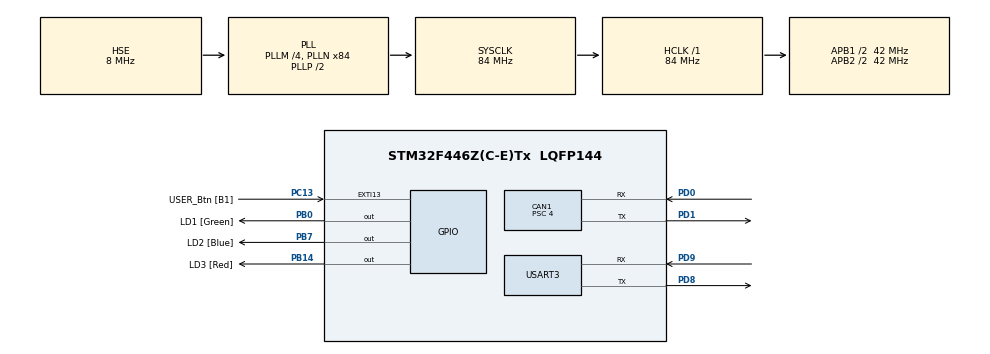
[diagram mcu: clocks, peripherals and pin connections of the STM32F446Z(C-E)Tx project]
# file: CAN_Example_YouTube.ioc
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CAN1.BS1=CAN_BS1_13TQ
CAN1.BS2=CAN_BS2_2TQ
CAN1.CalculateBaudRate=656250
CAN1.CalculateTimeBit=1523
CAN1.CalculateTimeQuantum=95.23809523809524
CAN1.Prescaler=4
Mcu.Family=STM32F4
Mcu.Name=STM32F446Z(C-E)Tx
Mcu.Package=LQFP144
NVIC.CAN1_RX0_IRQn=true\:0\:0\:false\:false\:true\:true\:true\:true
NVIC.CAN1_RX1_IRQn=true\:0\:0\:false\:false\:true\:true\:true\:true
NVIC.CAN1_TX_IRQn=true\:0\:0\:false\:false\:true\:true\:true\:true
NVIC.EXTI15_10_IRQn=true\:0\:0\:false\:false\:true\:true\:true\:true
NVIC.PriorityGroup=NVIC_PRIORITYGROUP_4
PB0.GPIO_Label=LD1 [Green]
PB0.Signal=GPIO_Output
PB14.GPIO_Label=LD3 [Red]
PB14.Signal=GPIO_Output
PB7.GPIO_Label=LD2 [Blue]
PB7.Signal=GPIO_Output
PC13.GPIO_Label=USER_Btn [B1]
PC13.Signal=GPXTI13
PC14-OSC32_IN.Mode=LSE-External-Oscillator
PC14-OSC32_IN.Signal=RCC_OSC32_IN
PC15-OSC32_OUT.Mode=LSE-External-Oscillator
PC15-OSC32_OUT.Signal=RCC_OSC32_OUT
PD0.GPIO_PuPd=GPIO_PULLUP
PD0.Mode=CAN_Activate
PD0.Signal=CAN1_RX
PD1.GPIO_PuPd=GPIO_PULLUP
PD1.Mode=CAN_Activate
PD1.Signal=CAN1_TX
PD8.Mode=Asynchronous
PD8.Signal=USART3_TX
PD9.Mode=Asynchronous
PD9.Signal=USART3_RX
PH0-OSC_IN.GPIO_Label=MCO [STM32F103CBT6_PA8]
PH0-OSC_IN.Mode=HSE-External-Clock-Source
PH0-OSC_IN.Signal=RCC_OSC_IN
PH1-OSC_OUT.Mode=HSE-External-Clock-Source
PH1-OSC_OUT.Signal=RCC_OSC_OUT
ProjectManager.HeapSize=0x200
ProjectManager.StackSize=0x400
ProjectManager.TargetToolchain=STM32CubeIDE
RCC.48MHZClocksFreq_Value=24000000
RCC.AHBFreq_Value=84000000
RCC.APB1CLKDivider=RCC_HCLK_DIV2
RCC.APB1Freq_Value=42000000
RCC.APB1TimFreq_Value=84000000
RCC.APB2CLKDivider=RCC_HCLK_DIV2
RCC.APB2Freq_Value=42000000
RCC.APB2TimFreq_Value=84000000
RCC.CortexFreq_Value=84000000
RCC.HCLKFreq_Value=84000000
RCC.HSE_VALUE=8000000
RCC.HSI_VALUE=16000000
RCC.PLLM=4
RCC.PLLMUL=RCC_PLL_MUL9
RCC.PLLN=84
RCC.PLLQ=7
RCC.PLLSourceVirtual=RCC_PLLSOURCE_HSE
RCC.PRESCALERUSB=RCC_USBCLKSOURCE_PLL_DIV1_5
RCC.SYSCLKFreq_VALUE=84000000
RCC.SYSCLKSource=RCC_SYSCLKSOURCE_PLLCLK
RCC.SYSCLKSourceVirtual=RCC_SYSCLKSOURCE_PLLCLK
RCC.USBFreq_Value=24000000
RCC.VCOOutputFreq_Value=168000000
USART3.VirtualMode=VM_ASYNC
board=NUCLEO-F446ZE

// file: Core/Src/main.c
/* USER CODE BEGIN Header */
/**
  ******************************************************************************
  * @file           : main.c
  * @brief          : Main program body
  ******************************************************************************
  * @attention
  *
  * <h2><center>&copy; Copyright (c) 2021 STMicroelectronics.
  * All rights reserved.</center></h2>
  *
  * This software component is licensed by ST under BSD 3-Clause license,
  * the "License"; You may not use this file except in compliance with the
  * License. You may obtain a copy of the License at:
  *                        opensource.org/licenses/BSD-3-Clause
  *
  ******************************************************************************
  */
/* USER CODE END Header */
#include "main.h"

CAN_HandleTypeDef hcan1;

UART_HandleTypeDef huart3;

/* USER CODE BEGIN PV */
// CAN Related
CAN_TxHeaderTypeDef   TxHeader;
CAN_RxHeaderTypeDef   RxHeader;
uint8_t               TxData[8];
uint8_t               RxData[8];
uint32_t              TxMailbox;
// LED Status...
uint8_t				  LDSTAT;
uint8_t			      CNT;
uint8_t			      TX;
/* USER CODE END PV */

void SystemClock_Config(void);
static void MX_GPIO_Init(void);
static void MX_USART3_UART_Init(void);
static void MX_CAN1_Init(void);

int main(void)
{
  /* USER CODE BEGIN 1 */
	TX = 0; // Stel hier in of het zender (1) of ontvanger (0) is.

	LDSTAT = 0;
	CNT = 0;
  /* USER CODE END 1 */

  /* MCU Configuration--------------------------------------------------------*/

  /* Reset of all peripherals, Initializes the Flash interface and the Systick. */
  HAL_Init();

  /* Configure the system clock */
  SystemClock_Config();

  /* Initialize all configured peripherals */
  MX_GPIO_Init();
  MX_USART3_UART_Init();
  MX_CAN1_Init();
  /* USER CODE BEGIN 2 */
  HAL_CAN_Start(&hcan1);
  /* USER CODE END 2 */

  /* Infinite loop */
	while (1) {

    /* USER CODE BEGIN 3 */
		if (TX) {
					CNT = CNT + 1;
					TxData[0] = CNT;
					TxData[1] = LDSTAT;

					if (LDSTAT == 0) {
						HAL_GPIO_WritePin(GPIOB, LD1_Pin, GPIO_PIN_SET);
						HAL_GPIO_WritePin(GPIOB, LD3_Pin | LD2_Pin, GPIO_PIN_RESET);
						LDSTAT = 1;
					} else if (LDSTAT == 1) {
						HAL_GPIO_WritePin(GPIOB, LD2_Pin, GPIO_PIN_SET);
						HAL_GPIO_WritePin(GPIOB, LD3_Pin | LD1_Pin, GPIO_PIN_RESET);
						LDSTAT = 2;
					} else {
						HAL_GPIO_WritePin(GPIOB, LD3_Pin, GPIO_PIN_SET);
						HAL_GPIO_WritePin(GPIOB, LD1_Pin | LD2_Pin, GPIO_PIN_RESET);
						LDSTAT = 0;
					}

					if (HAL_CAN_AddTxMessage(&hcan1, &TxHeader, TxData, &TxMailbox)
							!= HAL_OK) {
						/* Transmission request Error */
						Error_Handler();
					}

					HAL_Delay(500);
				} else {
					HAL_Delay(100);

					if (HAL_CAN_GetRxFifoFillLevel(&hcan1, CAN_RX_FIFO0) != 0) {
						/* Get RX message */
						if (HAL_CAN_GetRxMessage(&hcan1, CAN_RX_FIFO0, &RxHeader,
								RxData) != HAL_OK) {
							/* Reception Error */
							Error_Handler();
						}
						/* Display LEDx */
						if ((RxHeader.StdId == 0x321) && (RxHeader.IDE == CAN_ID_STD)
								&& (RxHeader.DLC == 2)) {
							LDSTAT = RxData[1];
							if (LDSTAT == 0) {
								HAL_GPIO_WritePin(GPIOB, LD1_Pin, GPIO_PIN_SET);
								HAL_GPIO_WritePin(GPIOB, LD3_Pin | LD2_Pin,
										GPIO_PIN_RESET);
							} else if (LDSTAT == 1) {
								HAL_GPIO_WritePin(GPIOB, LD2_Pin, GPIO_PIN_SET);
								HAL_GPIO_WritePin(GPIOB, LD3_Pin | LD1_Pin,
										GPIO_PIN_RESET);
							} else {
								HAL_GPIO_WritePin(GPIOB, LD3_Pin, GPIO_PIN_SET);
								HAL_GPIO_WritePin(GPIOB, LD1_Pin | LD2_Pin,
										GPIO_PIN_RESET);
							}
						}
					}
				}
	}
  /* USER CODE END 3 */
}

void SystemClock_Config(void)
{
  RCC_OscInitTypeDef RCC_OscInitStruct = {0};
  RCC_ClkInitTypeDef RCC_ClkInitStruct = {0};

  /** Configure the main internal regulator output voltage
  */
  __HAL_RCC_PWR_CLK_ENABLE();
  __HAL_PWR_VOLTAGESCALING_CONFIG(PWR_REGULATOR_VOLTAGE_SCALE3);

  /** Initializes the RCC Oscillators according to the specified parameters
  * in the RCC_OscInitTypeDef structure.
  */
  RCC_OscInitStruct.OscillatorType = RCC_OSCILLATORTYPE_HSE;
  RCC_OscInitStruct.HSEState = RCC_HSE_BYPASS;
  RCC_OscInitStruct.PLL.PLLState = RCC_PLL_ON;
  RCC_OscInitStruct.PLL.PLLSource = RCC_PLLSOURCE_HSE;
  RCC_OscInitStruct.PLL.PLLM = 4;
  RCC_OscInitStruct.PLL.PLLN = 84;
  RCC_OscInitStruct.PLL.PLLP = RCC_PLLP_DIV2;
  RCC_OscInitStruct.PLL.PLLQ = 7;
  RCC_OscInitStruct.PLL.PLLR = 2;
  if (HAL_RCC_OscConfig(&RCC_OscInitStruct) != HAL_OK)
  {
    Error_Handler();
  }

  /** Initializes the CPU, AHB and APB buses clocks
  */
  RCC_ClkInitStruct.ClockType = RCC_CLOCKTYPE_HCLK|RCC_CLOCKTYPE_SYSCLK
                              |RCC_CLOCKTYPE_PCLK1|RCC_CLOCKTYPE_PCLK2;
  RCC_ClkInitStruct.SYSCLKSource = RCC_SYSCLKSOURCE_PLLCLK;
  RCC_ClkInitStruct.AHBCLKDivider = RCC_SYSCLK_DIV1;
  RCC_ClkInitStruct.APB1CLKDivider = RCC_HCLK_DIV2;
  RCC_ClkInitStruct.APB2CLKDivider = RCC_HCLK_DIV2;

  if (HAL_RCC_ClockConfig(&RCC_ClkInitStruct, FLASH_LATENCY_2) != HAL_OK)
  {
    Error_Handler();
  }
}

static void MX_CAN1_Init(void)
{

  /* USER CODE BEGIN CAN1_Init 0 */
  CAN_FilterTypeDef  sFilterConfig;
  /* USER CODE END CAN1_Init 0 */

  hcan1.Instance = CAN1;
  hcan1.Init.Prescaler = 4;
  hcan1.Init.Mode = CAN_MODE_NORMAL;
  hcan1.Init.SyncJumpWidth = CAN_SJW_1TQ;
  hcan1.Init.TimeSeg1 = CAN_BS1_13TQ;
  hcan1.Init.TimeSeg2 = CAN_BS2_2TQ;
  hcan1.Init.TimeTriggeredMode = DISABLE;
  hcan1.Init.AutoBusOff = DISABLE;
  hcan1.Init.AutoWakeUp = DISABLE;
  hcan1.Init.AutoRetransmission = DISABLE;
  hcan1.Init.ReceiveFifoLocked = DISABLE;
  hcan1.Init.TransmitFifoPriority = DISABLE;
  if (HAL_CAN_Init(&hcan1) != HAL_OK)
  {
    Error_Handler();
  }
  /* USER CODE BEGIN CAN1_Init 2 */
  sFilterConfig.FilterBank = 0;
  sFilterConfig.FilterMode = CAN_FILTERMODE_IDMASK;
  sFilterConfig.FilterScale = CAN_FILTERSCALE_32BIT;
  sFilterConfig.FilterIdHigh = 0x0000;
  sFilterConfig.FilterIdLow = 0x0000;
  sFilterConfig.FilterMaskIdHigh = 0x0000;
  sFilterConfig.FilterMaskIdLow = 0x0000;
  sFilterConfig.FilterFIFOAssignment = CAN_RX_FIFO0;
  sFilterConfig.FilterActivation = ENABLE;
  sFilterConfig.SlaveStartFilterBank = 14;
  if (HAL_CAN_ConfigFilter(&hcan1, &sFilterConfig) != HAL_OK) {
	/* Filter configuration Error */
	Error_Handler();
  }
  /* CAN RX Notification activeren */
  if (HAL_CAN_ActivateNotification(&hcan1, CAN_IT_RX_FIFO0_MSG_PENDING) != HAL_OK)
    {
    /* Notification Error */
      Error_Handler();
    }

  /*##-5- Configure Transmission process ##*/
  TxHeader.StdId = 0x321;
  TxHeader.ExtId = 0x01;
  TxHeader.RTR = CAN_RTR_DATA;
  TxHeader.IDE = CAN_ID_STD;
  TxHeader.DLC = 2; // Datalengte is gelijk aan 2
  TxHeader.TransmitGlobalTime = DISABLE;

  /* USER CODE END CAN1_Init 2 */

}

static void MX_USART3_UART_Init(void)
{

  huart3.Instance = USART3;
  huart3.Init.BaudRate = 115200;
  huart3.Init.WordLength = UART_WORDLENGTH_8B;
  huart3.Init.StopBits = UART_STOPBITS_1;
  huart3.Init.Parity = UART_PARITY_NONE;
  huart3.Init.Mode = UART_MODE_TX_RX;
  huart3.Init.HwFlowCtl = UART_HWCONTROL_NONE;
  huart3.Init.OverSampling = UART_OVERSAMPLING_16;
  if (HAL_UART_Init(&huart3) != HAL_OK)
  {
    Error_Handler();
  }

}

static void MX_GPIO_Init(void)
{
  GPIO_InitTypeDef GPIO_InitStruct = {0};

  /* GPIO Ports Clock Enable */
  __HAL_RCC_GPIOC_CLK_ENABLE();
  __HAL_RCC_GPIOH_CLK_ENABLE();
  __HAL_RCC_GPIOB_CLK_ENABLE();
  __HAL_RCC_GPIOD_CLK_ENABLE();

  /*Configure GPIO pin Output Level */
  HAL_GPIO_WritePin(GPIOB, LD1_Pin|LD3_Pin|LD2_Pin, GPIO_PIN_RESET);

  /*Configure GPIO pin : USER_Btn_Pin */
  GPIO_InitStruct.Pin = USER_Btn_Pin;
  GPIO_InitStruct.Mode = GPIO_MODE_IT_RISING;
  GPIO_InitStruct.Pull = GPIO_NOPULL;
  HAL_GPIO_Init(USER_Btn_GPIO_Port, &GPIO_InitStruct);

  /*Configure GPIO pins : LD1_Pin LD3_Pin LD2_Pin */
  GPIO_InitStruct.Pin = LD1_Pin|LD3_Pin|LD2_Pin;
  GPIO_InitStruct.Mode = GPIO_MODE_OUTPUT_PP;
  GPIO_InitStruct.Pull = GPIO_NOPULL;
  GPIO_InitStruct.Speed = GPIO_SPEED_FREQ_LOW;
  HAL_GPIO_Init(GPIOB, &GPIO_InitStruct);

  /* EXTI interrupt init*/
  HAL_NVIC_SetPriority(EXTI15_10_IRQn, 0, 0);
  HAL_NVIC_EnableIRQ(EXTI15_10_IRQn);

}

/* USER CODE BEGIN 4 */

/**
  * @brief  Rx Fifo 0 message pending callback
  * @param  hcan: pointer to a CAN_HandleTypeDef structure that contains
  *         the configuration information for the specified CAN.
  * @retval None
  */
void HAL_CAN_RxFifo0MsgPendingCallback(CAN_HandleTypeDef *hcan)
{
  /* Get RX message */
  if (HAL_CAN_GetRxMessage(hcan, CAN_RX_FIFO0, &RxHeader, RxData) != HAL_OK)
  {
    /* Reception Error */
    Error_Handler();
  }
  /* Display LEDx */
	if ((RxHeader.StdId == 0x321) && (RxHeader.IDE == CAN_ID_STD)
			&& (RxHeader.DLC == 2)) {
		LDSTAT = RxData[1];
		if (LDSTAT == 0) {
			HAL_GPIO_WritePin(GPIOB, LD1_Pin, GPIO_PIN_SET);
			HAL_GPIO_WritePin(GPIOB, LD3_Pin | LD2_Pin, GPIO_PIN_RESET);
	    } else if (LDSTAT == 1) {
			HAL_GPIO_WritePin(GPIOB, LD2_Pin, GPIO_PIN_SET);
			HAL_GPIO_WritePin(GPIOB, LD3_Pin | LD1_Pin, GPIO_PIN_RESET);
		} else {
			HAL_GPIO_WritePin(GPIOB, LD3_Pin, GPIO_PIN_SET);
			HAL_GPIO_WritePin(GPIOB, LD1_Pin | LD2_Pin, GPIO_PIN_RESET);
		}
	}
}
/* USER CODE END 4 */

void Error_Handler(void)
{
  __disable_irq();
  while (1)
  {
  }
}
